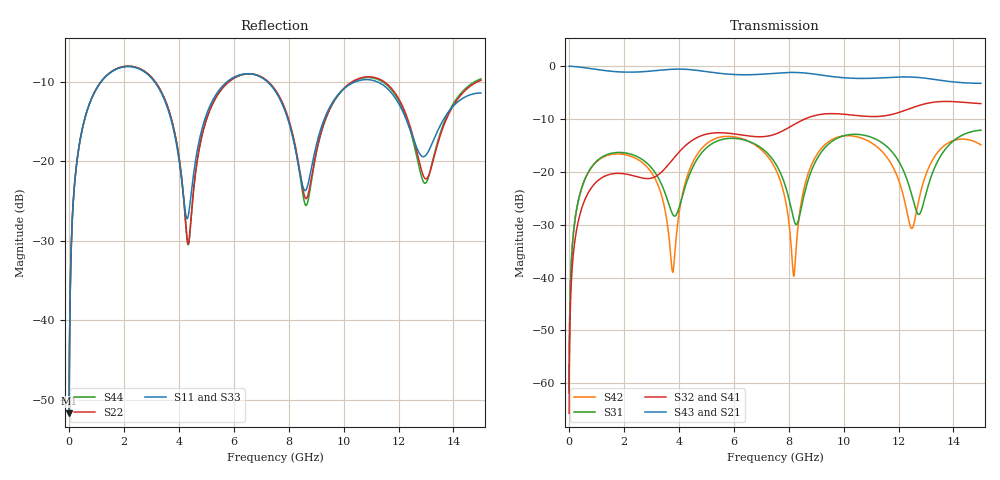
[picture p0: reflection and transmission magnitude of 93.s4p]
! Created with skrf 1.8.0 (http://scikit-rf.org).
# GHz S RI R 50.0
!freq ReS11 ImS11 ReS12 ImS12 ReS13 ImS13
! ReS14 ImS14
! ReS21 ImS21 ReS22 ImS22 ReS23 ImS23
! ReS24 ImS24
! ReS31 ImS31 ReS32 ImS32 ReS33 ImS33
! ReS34 ImS34
! ReS41 ImS41 ReS42 ImS42 ReS43 ImS43
! ReS44 ImS44
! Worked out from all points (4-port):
!   2499 points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, 5 MHz to 15 GHz, reference 50 ohm
!   strongest paths, dB at 5 MHz, 3.476 GHz, 7.19 GHz, 11.1 GHz, 15 GHz:
!     S43: 0.0, -0.7, -1.5, -2.3, -3.3
!     S21: 0.0, -0.7, -1.5, -2.3, -3.2
!     S32: -65.7, -19.5, -13.3, -9.5, -7.1
!     S41: -65.7, -19.5, -13.3, -9.5, -7.1
!     S31: -61.8, -23.7, -16.3, -13.6, -12.1
!     S42: -61.8, -26.7, -16.8, -14.8, -14.9
!   lowest |S11| = -51.7 dB at 5 MHz (marker M1), VSWR 1.01, Z = 50.2 + j0.158 ohm
!   |S11| at or under -10 dB: 3.116 GHz to 5.755 GHz (2.639 GHz wide, 59.5 % of centre); 7.224 GHz to 10.43 GHz (3.201 GHz wide, 36.3 % of centre); 11.23 GHz to end of sweep (the widest 3 of 4)
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0.005  0.00208 0.00158  0.9979 -0.00404  0.000105 0.000809  -0.000102 -0.00051
       0.9979 -0.00404  0.00208 0.00158  -0.000102 -0.00051  0.000105 0.000809
       0.000105 0.000809  -0.000102 -0.00051  0.00208 0.00158  0.9979 -0.00404
       -0.000102 -0.00051  0.000105 0.000809  0.9979 -0.00404  0.00208 0.00158
0.2626094  0.0275 0.087  0.9627 -0.2109  0.0126 0.04  -0.0103 -0.0249
           0.9627 -0.2109  0.0276 0.087  -0.0103 -0.0249  0.012 0.0401
           0.0126 0.04  -0.0103 -0.0249  0.0275 0.087  0.9627 -0.2109
           -0.0103 -0.0249  0.012 0.0401  0.9627 -0.2109  0.0276 0.087
1.269279  0.2815 0.1749  0.5239 -0.743  0.1317 0.0506  -0.09 -0.00248
          0.5239 -0.743  0.284 0.1731  -0.09 -0.00245  0.1244 0.0611
          0.1317 0.0506  -0.09 -0.00245  0.2815 0.1748  0.5239 -0.743
          -0.09 -0.00248  0.1244 0.0611  0.5239 -0.743  0.284 0.1731
4.245519  0.0433 -0.0187  -0.9259 -0.109  -0.0276 0.0689  -0.0182 0.1764
          -0.9259 -0.109  0.0297 -0.0296  -0.0177 0.1764  0.0193 0.0783
          -0.0276 0.0689  -0.0177 0.1764  0.0435 -0.0185  -0.9259 -0.1092
          -0.0182 0.1764  0.0193 0.0783  -0.9259 -0.1092  0.0294 -0.0294
8.6411  0.0663 0.00628  0.8464 0.1377  -0.00564 0.0724  0.0429 -0.3177
        0.8464 0.1377  0.0582 -0.00259  0.04 -0.3176  0.0133 0.0831
        -0.00564 0.0724  0.04 -0.3176  0.071 0.0083  0.8463 0.1384
        0.0429 -0.3177  0.0133 0.0831  0.8463 0.1384  0.0528 -0.00144
11.46728  0.2863 -0.0874  -0.1428 -0.7603  0.0936 -0.1571  -0.3181 0.1144
          -0.1428 -0.7603  0.2989 -0.1064  -0.3169 0.1168  0.0983 -0.1121
          0.0936 -0.1571  -0.3169 0.1168  0.2815 -0.0883  -0.1414 -0.7623
          -0.3181 0.1144  0.0983 -0.1121  -0.1414 -0.7623  0.2953 -0.1014
15  0.2683 0.0174  -0.3024 0.6197  0.1974 -0.1491  0.4222 0.1286
    -0.3024 0.6197  0.32 0.0442  0.4235 0.1244  0.1738 -0.0457
    0.1974 -0.1491  0.4235 0.1244  0.2763 0.018  -0.3056 0.6154
    0.4222 0.1286  0.1738 -0.0457  -0.3056 0.6154  0.3251 0.0547
